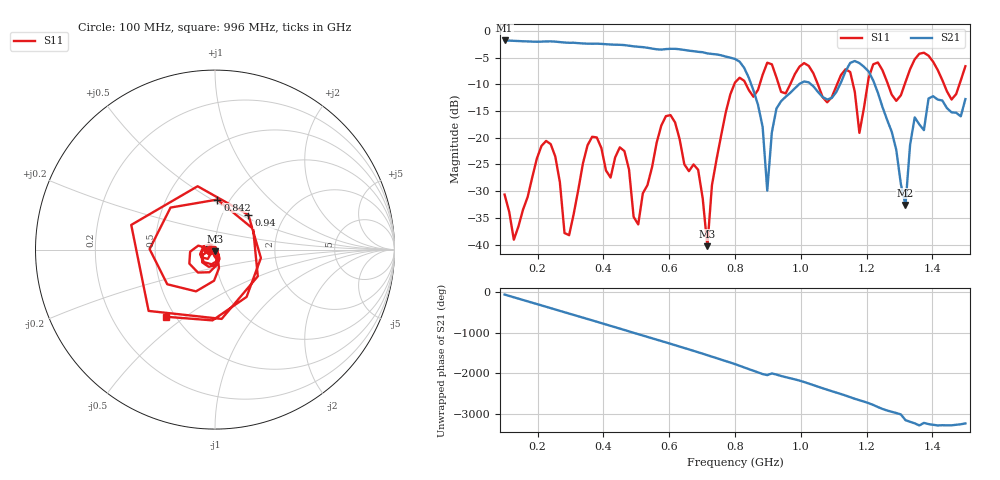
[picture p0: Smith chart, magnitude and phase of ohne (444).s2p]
! NanoVNA-App
! Date: 2025-09-25 14:24:15
! Start: 100MHz Stop: 1,5GHz Points: 101
! S-Parameter data: F S11 S21 S12 S22
# Hz S RI R 50
!  Frequency  S11_Real  S11_Imag  S21_Real  S21_Imag  S12_Real  S12_Imag  S22_Real  S22_Imag
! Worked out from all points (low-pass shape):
!   101 points, 100 MHz to 1.5 GHz, reference 50 ohm
!   highest |S21| = -1.79 dB at 100 MHz (marker M1); lowest = -32.6 dB at 1.318 GHz (marker M2)
!   |S21| within 3 dB of the highest: start of sweep to 770.9 MHz
!   lowest |S11| = -40.3 dB at 716 MHz (marker M3), VSWR 1.02, Z = 49.8 - j0.949 ohm
!   |S11| at or under -10 dB: start of sweep to 797.8 MHz; 833.3 MHz to 875.1 MHz (41.85 MHz wide, 4.9 % of centre); 1.052 GHz to 1.11 GHz (58.47 MHz wide, 5.41 % of centre) (the widest 3 of 7)
!   S12 and S22 are empty: the file has one direction only
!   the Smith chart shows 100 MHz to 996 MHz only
!   S11 on the Smith chart (normalised r, x): 100 MHz: 0.94, -0.01; 842 MHz: 0.88, +0.53; 940 MHz: 1.32, +0.55; 996 MHz: 0.45, -0.43
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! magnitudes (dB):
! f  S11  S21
! 100 MHz  -30.6  -1.8
! 128 MHz  -39.1  -1.9
! 226 MHz  -20.6  -2.0
! 296 MHz  -38.2  -2.2
! 338 MHz  -24.8  -2.4
! 464 MHz  -22.5  -2.7
! 506 MHz  -36.2  -3.0
! 576 MHz  -17.7  -3.5
! 688 MHz  -26.0  -3.9
! 716 MHz  -40.3  -4.2
! 800 MHz  -9.7  -5.3
! 842 MHz  -11.1  -8.8
! 898 MHz  -6.0  -29.9
! 940 MHz  -11.4  -13.2
! 996 MHz  -6.7  -9.9
! 1.038 GHz  -7.9  -10.4
! 1.178 GHz  -19.1  -6.0
! 1.22 GHz  -6.3  -9.3
! 1.276 GHz  -11.9  -18.8
! 1.318 GHz  -9.6  -32.6
! 1.346 GHz  -5.3  -16.2
! 1.5 GHz  -6.6  -12.8
